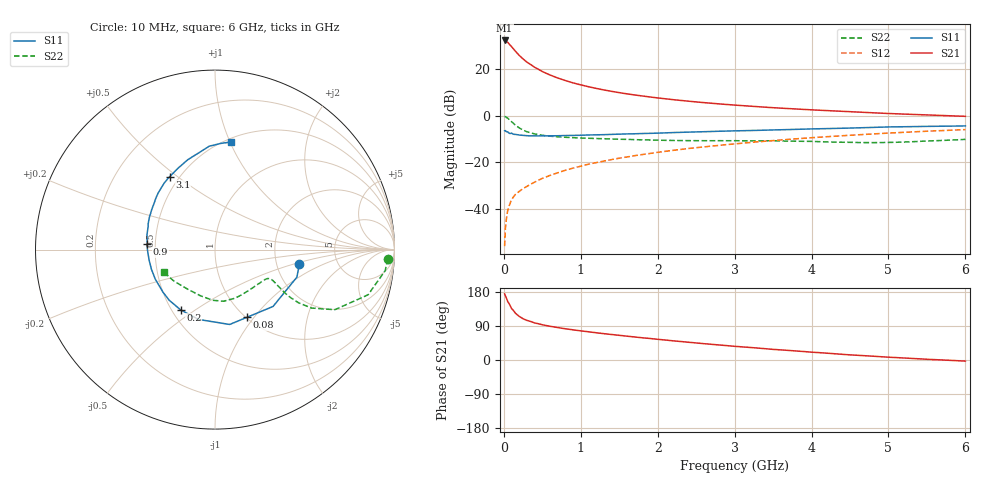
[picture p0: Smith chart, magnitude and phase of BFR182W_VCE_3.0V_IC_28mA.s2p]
! Infineon Technologies  Discrete & RF Semiconductors
! BFR182W
! VCE =  3.0 V,  IC =  28 mA
! Common Emitter S-Parameters:  Jan 2017
# GHz  S  MA  R  50
!  f  S11  S21  S12  S22
! GHz  MAG  ANG  MAG  ANG  MAG  ANG  MAG  ANG
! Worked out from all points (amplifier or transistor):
!   77 points, 10 MHz to 6 GHz, reference 50 ohm
!   highest |S21| = 32.3 dB at 10 MHz (marker M1)
!   |S21| within 3 dB of that: start of sweep to 109.6 MHz
!   unconditionally stable (mu >= 1): 574.6 MHz to 2.273 GHz
!   at 130 MHz: K = 0.51, MSG = 31.5 dB, |S12| = -34.6 dB
!   at 2.2 GHz: K = 1.01, MAG = 10.4 dB, |S12| = -14.8 dB
!   at 6 GHz: K = 0.87, MSG = 2.8 dB, |S12| = -5.9 dB
!   S11 on the Smith chart (normalised r, x): 10 MHz: 2.70, -0.54; 80 MHz: 1.01, -0.92; 200 MHz: 0.55, -0.44; 900 MHz: 0.45, +0.03; 3.1 GHz: 0.44, +0.47; 6 GHz: 0.53, +1.01
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0.01  0.477 -9.4  41.21 174.5  0.0016 89.4  0.9643 -3.1
0.02  0.4814 -18.6  41.13 169.4  0.0038 81.9  0.9556 -7.0
0.05  0.4527 -44.4  37.66 154.6  0.0092 76.0  0.8897 -16.4
0.08  0.417 -64.7  32.9 144.3  0.0131 70.3  0.8011 -22.1
0.1  0.425 -78.9  30.45 135.9  0.0158 68.1  0.7473 -26.6
0.15  0.3998 -103.2  24.26 123.5  0.0206 63.5  0.6293 -31.2
0.2  0.3864 -119.8  19.74 115.1  0.0239 64.2  0.5491 -32.5
0.25  0.3804 -132.1  16.54 108.9  0.0276 63.7  0.494 -32.4
0.3  0.3745 -140.8  14.12 104.5  0.0306 65.3  0.4542 -31.7
0.4  0.3712 -153.6  10.95 97.8  0.0378 66.9  0.4088 -30.1
0.5  0.3707 -162.8  8.886 93.0  0.0455 68.1  0.382 -28.9
0.6  0.3714 -170.1  7.494 89.0  0.0526 69.9  0.3653 -28.1
0.7  0.3732 -175.5  6.462 85.6  0.0599 71.4  0.3544 -27.8
0.9  0.3791 175.2  5.072 79.6  0.0755 72.1  0.3395 -28.3
1.1  0.3875 167.9  4.2 74.5  0.0915 72.4  0.3297 -29.8
1.3  0.3936 161.2  3.58 69.5  0.1067 71.9  0.3219 -32.0
1.5  0.4038 155.9  3.133 65.1  0.1232 71.3  0.314 -35.0
2.1  0.43 141.3  2.314 52.7  0.1729 68.0  0.2975 -46.9
3.1  0.4785 121.8  1.652 34.6  0.2585 60.4  0.291 -71.2
4.1  0.5269 105.4  1.316 19.4  0.3473 51.3  0.2785 -95.4
5.1  0.5792 92.0  1.103 6.4  0.4334 40.8  0.2703 -129.0
6  0.6061 81.6  0.973 -2.9  0.5053 31.1  0.312 -156.2
